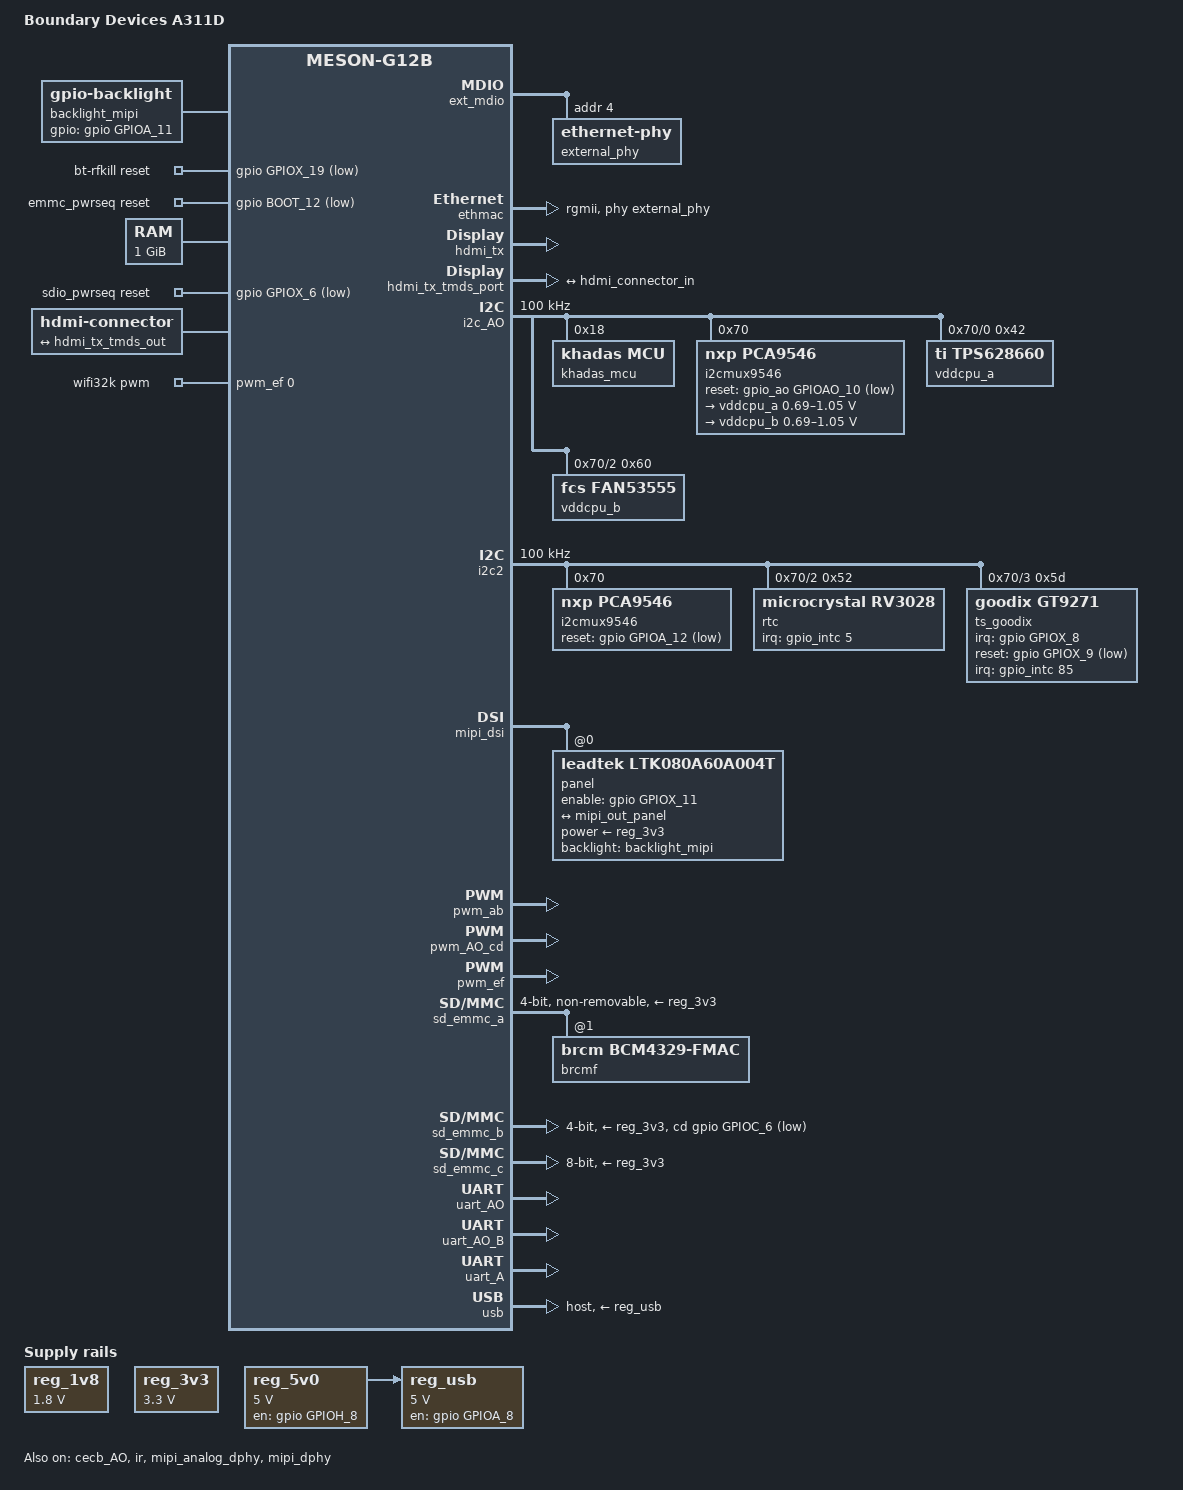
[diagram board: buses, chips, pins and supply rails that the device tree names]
// SPDX-License-Identifier: (GPL-2.0+ OR MIT)
/*
 * Copyright (c) 2019 BayLibre, SAS
 * Author: Neil Armstrong <narmstrong@baylibre.com>
 * Copyright (c) 2019 Christian Hewitt <christianshewitt@gmail.com>
 * Copyright (c) 2021 Boundary Devices
 */

/dts-v1/;

#include <dt-bindings/input/input.h>
#include <dt-bindings/leds/common.h>
#include <dt-bindings/gpio/meson-g12a-gpio.h>
#include <dt-bindings/sound/meson-g12a-tohdmitx.h>
#include "meson-g12b-a311d.dtsi"

/ {
	compatible = "boundary,a311d", "amlogic,a311d", "amlogic,g12b";
	model = "Boundary Devices A311D";

	aliases {
		ethernet0 = &ethmac;
		i2c0 = &i2c_AO;
		rtc1 = &vrtc;
		serial0 = &uart_AO;
		serial1 = &uart_AO_B;
	};

	backlight_mipi: backlight-mipi {
		compatible = "gpio-backlight";
		gpios = <&gpio GPIOA_11 GPIO_ACTIVE_HIGH>;
		default-on;
		status = "okay";
	};

	bt-rfkill {
		compatible = "net,rfkill-gpio";
		name = "bt-rfkill";
		type = <2>; /* bluetooth */
		reset-gpios = <&gpio GPIOX_19 GPIO_ACTIVE_LOW>;
		status = "okay";
	};

	chosen {
		stdout-path = "serial0:115200n8";
	};

	emmc_pwrseq: emmc-pwrseq {
		compatible = "mmc-pwrseq-emmc";
		reset-gpios = <&gpio BOOT_12 GPIO_ACTIVE_LOW>;
	};

#if 0
	galcore {
		compatible = "amlogic, galcore";
		dev_name = "galcore";
		status = "okay";
		clocks = <&clkc CLKID_NNA_AXI_CLK>,
				<&clkc CLKID_NNA_CORE_CLK>;
		clock-names = "cts_vipnanoq_axi_clk_composite",
						"cts_vipnanoq_core_clk_composite";
		interrupts = <0 147 4>;
		interrupt-names = "galcore";
		reg = <0x0 0xff100000 0x0 0x800
				0x0 0xff000000 0x0 0x400000
				0x0 0xff63c10c 0x0 0x4
				0x0 0xff63c110 0x0 0x4
				0x0 0xffd01088 0x0 0x4
				0X0 0xff63c1c8 0X0 0x4
		>;
		reg-names = "NN_REG","NN_SRAM","NN_MEM0",
					"NN_MEM1","NN_RESET","NN_CLK";
		nn_power_version = <2>;
		nn_efuse = <0xff63003c 0x20>;

		memory-region = <&galcore_reserved>;
	};
#endif
	
#if 0
	gpio-keys-polled {
		compatible = "gpio-keys-polled";
		poll-interval = <100>;

		power-button {
			label = "power";
			linux,code = <KEY_POWER>;
			gpios = <&gpio_ao GPIOAO_7 GPIO_ACTIVE_LOW>;
		};
	};
#endif
	
#if 0
	gpiomem {
		compatible = "amlogic, gpiomem";
		reg = <0x0 0xff634000 0x0 0x1000>;
		dev_name = "gpiomem";
		status = "okay";
	};
#endif

#if 0
	gpiomem_ao {
		compatible = "amlogic, gpiomem";
		reg = <0x0 0xff800000 0x0 0x1000>;
		dev_name = "gpiomem-ao";
		status = "okay";
	};
#endif

#if 0
	leds {
		compatible = "gpio-leds";

		led-white {
			color = <LED_COLOR_ID_WHITE>;
			function = LED_FUNCTION_STATUS;
			gpios = <&gpio_ao GPIOAO_4 GPIO_ACTIVE_HIGH>;
			linux,default-trigger = "heartbeat";
		};
	};
#endif

	memory@0 {
		device_type = "memory";
		reg = <0x0 0x0 0x0 0x40000000>;
	};

	reserved-memory {
		galcore_reserved:linux,galcore {
			compatible = "shared-dma-pool";
			reusable;
			size = <0x0 0x1000000>;
			alignment = <0x0 0x400000>;
			linux,contiguous-region;
		};
	};

	reg_1v8: regulator-reg_1v8 {
		compatible = "regulator-fixed";
		regulator-name = "VCC_1V8";
		regulator-min-microvolt = <1800000>;
		regulator-max-microvolt = <1800000>;
		regulator-always-on;
	};

	reg_3v3: regulator-reg_3v3 {
		compatible = "regulator-fixed";
		regulator-name = "VSYS_3V3";
		regulator-min-microvolt = <3300000>;
		regulator-max-microvolt = <3300000>;
		regulator-always-on;
	};

	reg_5v0: regulator-reg_5v0 {
		compatible = "regulator-fixed";
		regulator-name = "VCC_5V";
		regulator-min-microvolt = <5000000>;
		regulator-max-microvolt = <5000000>;
		gpio = <&gpio GPIOH_8 GPIO_OPEN_DRAIN>;
		enable-active-high;
	};

	reg_usb: regulator-reg_usb {
		compatible = "regulator-fixed";
		regulator-name = "USB_PWR";
		regulator-min-microvolt = <5000000>;
		regulator-max-microvolt = <5000000>;
		vin-supply = <&reg_5v0>;

		gpio = <&gpio GPIOA_8 GPIO_ACTIVE_HIGH>;
		enable-active-high;
	};

	sdio_pwrseq: sdio-pwrseq {
		compatible = "mmc-pwrseq-simple";
		reset-gpios = <&gpio GPIOX_6 GPIO_ACTIVE_LOW>;
		clocks = <&wifi32k>;
		clock-names = "ext_clock";
	};

	hdmi-connector {
		compatible = "hdmi-connector";
		type = "a";

		port {
			hdmi_connector_in: endpoint {
				remote-endpoint = <&hdmi_tx_tmds_out>;
			};
		};
	};

#if 0
	spdif_dit: audio-codec-1 {
		#sound-dai-cells = <0>;
		compatible = "linux,spdif-dit";
		status = "okay";
		sound-name-prefix = "DIT";
	};
#endif
	
#if 0
	sound {
		compatible = "amlogic,axg-sound-card";
		model = "KHADAS-VIM3";
		audio-aux-devs = <&tdmout_b>;
		audio-routing = "TDMOUT_B IN 0", "FRDDR_A OUT 1",
				"TDM_B Playback", "TDMOUT_B OUT",
				"SPDIFOUT IN 0", "FRDDR_A OUT 3";

		assigned-clocks = <&clkc CLKID_MPLL2>,
				  <&clkc CLKID_MPLL0>,
				  <&clkc CLKID_MPLL1>;
		assigned-clock-parents = <0>, <0>, <0>;
		assigned-clock-rates = <294912000>,
				       <270950400>,
				       <393216000>;
		status = "okay";

		dai-link-0 {
			sound-dai = <&frddr_a>;
		};

		/* 8ch hdmi interface */
		dai-link-6 {
			sound-dai = <&tdmif_b>;
			dai-format = "i2s";
			dai-tdm-slot-tx-mask-0 = <1 1>;
			dai-tdm-slot-tx-mask-1 = <1 1>;
			dai-tdm-slot-tx-mask-2 = <1 1>;
			dai-tdm-slot-tx-mask-3 = <1 1>;
			mclk-fs = <256>;

			codec {
				sound-dai = <&tohdmitx TOHDMITX_I2S_IN_B>;
			};
		};

		/* hdmi glue */
		dai-link-7 {
			sound-dai = <&tohdmitx TOHDMITX_I2S_OUT>;

			codec {
				sound-dai = <&hdmi_tx>;
			};
		};

		/* spdif or toslink interface */
		dai-link-4 {
			sound-dai = <&spdifout>;

			codec-0 {
				sound-dai = <&spdif_dit>;
			};
		};

	};
#endif

	wifi32k: wifi32k {
		compatible = "pwm-clock";
		#clock-cells = <0>;
		clock-frequency = <32768>;
		pwms = <&pwm_ef 0 30518 0>; /* PWM_E at 32.768KHz */
	};
};

#if 0
&arb {
	status = "okay";
};
#endif

#if 0
&clkc_audio {
	status = "okay";
};
#endif

&cec_AO {
	pinctrl-0 = <&cec_ao_a_h_pins>;
	pinctrl-names = "default";
	status = "disabled";
	hdmi-phandle = <&hdmi_tx>;
};

&cecb_AO {
	pinctrl-0 = <&cec_ao_b_h_pins>;
	pinctrl-names = "default";
	status = "okay";
	hdmi-phandle = <&hdmi_tx>;
};

&cpu0 {
	cpu-supply = <&vddcpu_b>;
	operating-points-v2 = <&cpu_opp_table_0>;
	clocks = <&clkc CLKID_CPU_CLK>;
	clock-latency = <50000>;
};

&cpu1 {
	cpu-supply = <&vddcpu_b>;
	operating-points-v2 = <&cpu_opp_table_0>;
	clocks = <&clkc CLKID_CPU_CLK>;
	clock-latency = <50000>;
};

&cpu100 {
	cpu-supply = <&vddcpu_a>;
	operating-points-v2 = <&cpub_opp_table_1>;
	clocks = <&clkc CLKID_CPUB_CLK>;
	clock-latency = <50000>;
};

&cpu101 {
	cpu-supply = <&vddcpu_a>;
	operating-points-v2 = <&cpub_opp_table_1>;
	clocks = <&clkc CLKID_CPUB_CLK>;
	clock-latency = <50000>;
};

&cpu102 {
	cpu-supply = <&vddcpu_a>;
	operating-points-v2 = <&cpub_opp_table_1>;
	clocks = <&clkc CLKID_CPUB_CLK>;
	clock-latency = <50000>;
};

&cpu103 {
	cpu-supply = <&vddcpu_a>;
	operating-points-v2 = <&cpub_opp_table_1>;
	clocks = <&clkc CLKID_CPUB_CLK>;
	clock-latency = <50000>;
};

#if 0
&cpu_thermal {
	trips {
		cpu_active: cpu-active {
			temperature = <50000>; /* millicelsius */
			hysteresis = <2000>; /* millicelsius */
			type = "active";
		};
	};

	cooling-maps {
		map {
			trip = <&cpu_active>;
#if 1
			cooling-device = <&khadas_mcu THERMAL_NO_LIMIT THERMAL_NO_LIMIT>;
#endif
		};
	};
};
#endif

&ext_mdio {
	external_phy: ethernet-phy@4 {
		/* Atheros AR8035 */
		interrupt-parent = <&gpio_intc>;
		/* MAC_INTR on GPIOZ_14 */
		interrupts = <26 IRQ_TYPE_LEVEL_LOW>;
		max-speed = <1000>;
		reg = <4>;
#if 0
		reset-assert-us = <10000>;
		reset-deassert-us = <30000>;
		reset-gpios = <&gpio GPIOZ_15 (GPIO_ACTIVE_LOW | GPIO_OPEN_DRAIN)>;
#endif
	};
};

&ethmac {
	pinctrl-0 = <&eth_pins>, <&eth_rgmii_pins>;
	pinctrl-names = "default";
	status = "okay";
	phy-mode = "rgmii";
	phy-handle = <&external_phy>;
	amlogic,tx-delay-ns = <2>;
};

#if 0
&frddr_a {
	status = "okay";
};

&frddr_b {
	status = "okay";
};

&frddr_c {
	status = "okay";
};
#endif

&hdmi_tx {
	status = "okay";
	pinctrl-0 = <&hdmitx_hpd_pins>, <&hdmitx_ddc_pins>;
	pinctrl-names = "default";
	hdmi-supply = <&reg_5v0>;
};

&hdmi_tx_tmds_port {
	hdmi_tx_tmds_out: endpoint {
		remote-endpoint = <&hdmi_connector_in>;
	};
};

&i2c_AO {
	clock-frequency = <100000>;
	status = "okay";
	pinctrl-0 = <&i2c_ao_sck_pins>, <&i2c_ao_sda_pins>;
	pinctrl-names = "default";

	khadas_mcu: system-controller@18 {
		compatible = "khadas,mcu";
		reg = <0x18>;
		#cooling-cells = <2>;
	};

	i2cmux9546@70 {
		#address-cells = <1>;
		#size-cells = <0>;
		compatible = "nxp,pca9546";
		reg = <0x70>;
		reset-gpios = <&gpio_ao GPIOAO_10 GPIO_ACTIVE_LOW>;
		status = "okay";

		i2c_AO_a: i2c@0 {
			#address-cells = <1>;
			#size-cells = <0>;
			clock-frequency = <400000>;
			reg = <0>;
		};

		i2c_AO_b: i2c@1 {
			#address-cells = <1>;
			#size-cells = <0>;
			reg = <1>;
		};

		i2c_AO_c: i2c@2 {
			#address-cells = <1>;
			#size-cells = <0>;
			reg = <2>;
		};

		i2c_AO_d: i2c@3 {
			#address-cells = <1>;
			#size-cells = <0>;
			reg = <3>;
		};
	};
};

&i2c_AO_a {
	vddcpu_a: regulator-vddcpu-a@42 {
		/* TPS628660AYCG Regulator */
		compatible = "ti,tps628660";
		reg = <0x42>;
		regulator-name = "VDDCPU_A";
		regulator-min-microvolt = <690000>;
		regulator-max-microvolt = <1050000>;
		regulator-boot-on;
		regulator-always-on;
	};
};

&i2c_AO_b {
	/* vdd_ee fan5355 Regulator */
};

&i2c_AO_c {
	vddcpu_b: regulator-vddcpu-b@60 {
		/* fan5355 Regulator */
		compatible = "fcs,fan53555";
		reg = <0x60>;
		regulator-name = "VDDCPU_B";
		regulator-min-microvolt = <690000>;
		regulator-max-microvolt = <1050000>;
		regulator-boot-on;
		regulator-always-on;
	};
};

&i2c_AO_d {
	/* camera connector */
};

&i2c2 {
	clock-frequency = <100000>;
	status = "okay";
	pinctrl-0 = <&i2c2_sck_x_pins>, <&i2c2_sda_x_pins>;
	pinctrl-names = "default";

	i2cmux9546@70 {
		#address-cells = <1>;
		#size-cells = <0>;
		compatible = "nxp,pca9546";
		reg = <0x70>;
		reset-gpios = <&gpio GPIOA_12 GPIO_ACTIVE_LOW>;
		status = "okay";

		i2c2_a: i2c@0 {
			#address-cells = <1>;
			#size-cells = <0>;
			reg = <0>;
		};

		i2c2_b: i2c@1 {
			#address-cells = <1>;
			#size-cells = <0>;
			reg = <1>;
		};

		i2c2_c: i2c@2 {
			#address-cells = <1>;
			#size-cells = <0>;
			reg = <2>;
		};

		i2c2_d: i2c@3 {
			#address-cells = <1>;
			#size-cells = <0>;
			reg = <3>;
		};
	};
};

&i2c2_a {
	/* TypeC chip */
};

&i2c2_b {
	/* unused */
};

&i2c2_c {
	/* RTC */
	rtc@52 {
		backup-switchover-dsm;
		compatible = "microcrystal,rv3028";
		interrupts-extended = <&gpio_intc 5 IRQ_TYPE_LEVEL_LOW>;
		reg = <0x52>;
		wakeup-source;
	};
};

&i2c2_d {
	/* DSI touch controller */
	ts_goodix: touchscreen@5d {
		compatible = "goodix,gt9271";
		interrupts-extended = <&gpio_intc 85 IRQ_TYPE_LEVEL_HIGH>;
		irq-gpios = <&gpio GPIOX_8 GPIO_ACTIVE_HIGH>;
		reg = <0x5d>;
		reset-gpios = <&gpio GPIOX_9 GPIO_ACTIVE_LOW>;
		status = "okay";
	};
};

&ir {
	status = "okay";
	pinctrl-0 = <&remote_input_ao_pins>;
	pinctrl-names = "default";
	linux,rc-map-name = "rc-khadas";
};

&mipi_dsi {
	status = "okay";

	assigned-clocks = <&clkc CLKID_GP0_PLL>,
			  <&clkc CLKID_MIPI_DSI_PXCLK_SEL>,
			  <&clkc CLKID_MIPI_DSI_PXCLK>;
	assigned-clock-parents = <0>,
				 <&clkc CLKID_GP0_PLL>,
				 <0>;
	assigned-clock-rates = <720000000>,
			       <0>,
			       <720000000>;

	panel@0 {
		compatible = "leadtek,ltk080a60a004t";
		backlight = <&backlight_mipi>;
		enable-gpios = <&gpio GPIOX_11 GPIO_ACTIVE_HIGH>;
		power-supply = <&reg_3v3>;
		reg = <0>;

		port {
			mipi_in_panel: endpoint {
				remote-endpoint = <&mipi_out_panel>;
			};
		};
	};
};

&mipi_analog_dphy {
	status = "okay";
};

&mipi_dphy {
	status = "okay";
};

&mipi_dsi_panel_port {
	mipi_out_panel: endpoint {
		remote-endpoint = <&mipi_in_panel>;
	};
};

#if 0
&pcie {
	reset-gpios = <&gpio GPIOA_8 GPIO_ACTIVE_LOW>;
};
#endif

&pwm_ab {
	pinctrl-0 = <&pwm_a_e_pins>;
	pinctrl-names = "default";
	clocks = <&xtal>;
	clock-names = "clkin0";
	status = "okay";
};

&pwm_AO_cd {
	pinctrl-0 = <&pwm_ao_d_e_pins>;
	pinctrl-names = "default";
	clocks = <&xtal>;
	clock-names = "clkin1";
	status = "okay";
};

&pwm_ef {
	status = "okay";
	pinctrl-0 = <&pwm_e_pins>;
	pinctrl-names = "default";
};

#if 0
&saradc {
	status = "okay";
	vref-supply = <&reg_1v8>;
};
#endif

#if 1
/* SDIO */
&sd_emmc_a {
	status = "okay";
	pinctrl-0 = <&sdio_pins>;
	pinctrl-1 = <&sdio_clk_gate_pins>;
	pinctrl-names = "default", "clk-gate";
	#address-cells = <1>;
	#size-cells = <0>;

	bus-width = <4>;
	cap-sd-highspeed;
	max-frequency = <100000000>;

	non-removable;
	disable-wp;

	/* WiFi firmware requires power to be kept while in suspend */
	keep-power-in-suspend;

	mmc-pwrseq = <&sdio_pwrseq>;

	vmmc-supply = <&reg_3v3>;
	vqmmc-supply = <&reg_1v8>;

	brcmf: wifi@1 {
		reg = <1>;
		compatible = "brcm,bcm4329-fmac";
	};
};
#endif

#if 1
/* SD card */
&sd_emmc_b {
	status = "okay";
	pinctrl-0 = <&sdcard_c_pins>;
	pinctrl-1 = <&sdcard_clk_gate_c_pins>;
	pinctrl-names = "default", "clk-gate";

	bus-width = <4>;
	cap-sd-highspeed;
	max-frequency = <50000000>;
	disable-wp;

	cd-gpios = <&gpio GPIOC_6 GPIO_ACTIVE_LOW>;
	vmmc-supply = <&reg_3v3>;
	vqmmc-supply = <&reg_3v3>;
};
#endif

#if 1
/* eMMC */
&sd_emmc_c {
	status = "okay";
	pinctrl-0 = <&emmc_ctrl_pins>, <&emmc_data_8b_pins>, <&emmc_ds_pins>;
	pinctrl-1 = <&emmc_clk_gate_pins>;
	pinctrl-names = "default", "clk-gate";

	bus-width = <8>;
	cap-mmc-highspeed;
	mmc-ddr-1_8v;
	mmc-hs200-1_8v;
	max-frequency = <200000000>;
	disable-wp;

	mmc-pwrseq = <&emmc_pwrseq>;
	vmmc-supply = <&reg_3v3>;
	vqmmc-supply = <&reg_1v8>;
};
#endif

#if 0
/*
 * EMMC_D4, EMMC_D5, EMMC_D6 and EMMC_D7 pins are shared between SPI NOR CS
 * and eMMC Data 4 to 7 pins.
 * Replace emmc_data_8b_pins to emmc_data_4b_pins from sd_emmc_c pinctrl-0,
 * and change bus-width to 4 then spifc can be enabled.
 */
&spifc {
	status = "disabled";
	pinctrl-0 = <&nor_pins>;
	pinctrl-names = "default";

	w25q128: spi-flash@0 {
		#address-cells = <1>;
		#size-cells = <1>;
		compatible = "winbond,w25q128fw", "jedec,spi-nor";
		reg = <0>;
		spi-max-frequency = <104000000>;
	};
};
#endif

#if 0
&spdifout {
	// uncomment next block  enable SPDIF output to GPIO HEADERS
	/*
	pinctrl-0 = <&spdif_ao_out_pins>;
	*/
	pinctrl-names = "default";
	status = "okay";
};
#endif

#if 0
&tdmif_a {
	status = "okay";
};

&tdmif_b {
	// uncomment next block  enable I2S output to GPIO HEADERS
	//
	assigned-clocks = <&clkc_audio AUD_CLKID_TDM_SCLK_PAD1>,
			  <&clkc_audio AUD_CLKID_TDM_LRCLK_PAD1>;
	assigned-clock-parents = <&clkc_audio AUD_CLKID_MST_B_SCLK>,
				 <&clkc_audio AUD_CLKID_MST_B_LRCLK>;
	assigned-clock-rates = <0>, <0>;
	/*
	pinctrl-0 = <&tdm_b_fs_pins>, <&tdm_b_dout0_pins>,
		    <&tdm_b_sclk_pins>, <&mclk0_a_pins>;
	*/
	pinctrl-names = "default";
	status = "okay";
};

&tdmin_a {
	status = "okay";
};

&tdmout_a {
	status = "okay";
};

&tdmout_b {
	status = "okay";
};

&toddr_a {
	status = "okay";
};

&toddr_b {
	status = "okay";
};

&toddr_c {
	status = "okay";
};
#endif

#if 0
&tohdmitx {
	status = "okay";
};
#endif

&uart_AO {
	status = "okay";
	pinctrl-0 = <&uart_ao_a_pins>;
	pinctrl-names = "default";
};

&uart_AO_B {
	status = "okay";
	pinctrl-0 = <&uart_ao_b_2_pins>;
	pinctrl-names = "default";
};

&uart_A {
	status = "okay";
	pinctrl-0 = <&uart_a_pins>, <&uart_a_cts_rts_pins>;
	pinctrl-names = "default";
};

&usb {
	status = "okay";
#if 0
	dr_mode = "peripheral";
#endif
	dr_mode = "host";
	vbus-supply = <&reg_usb>;
};

&usb2_phy0 {
	phy-supply = <&reg_5v0>;
};

&usb2_phy1 {
	phy-supply = <&reg_5v0>;
};

&usb3_pcie_phy {
	phy-supply = <&reg_5v0>;
};

